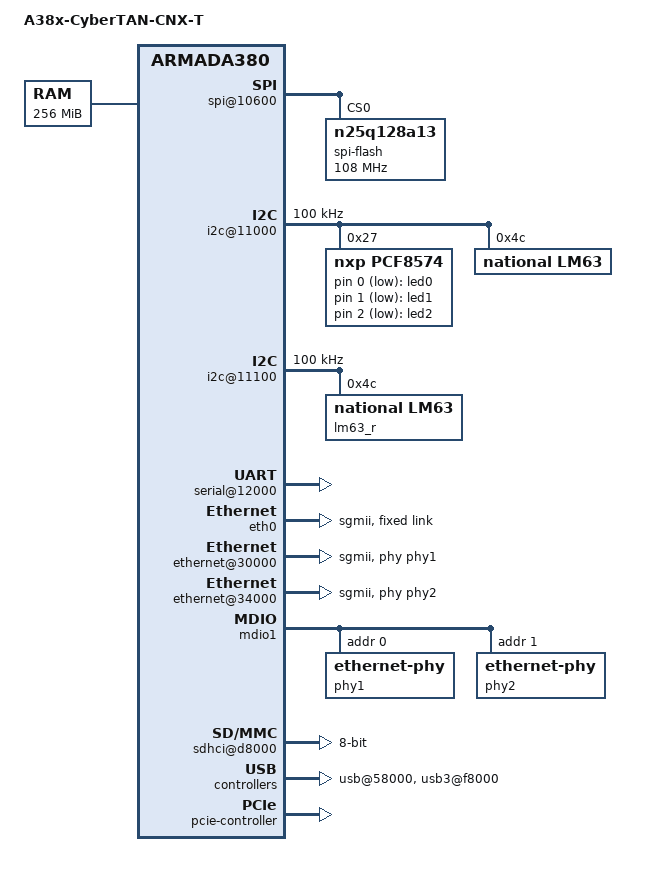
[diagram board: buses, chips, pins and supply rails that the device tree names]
/*
 * Device Tree file for Marvell Armada 388 evaluation board
 * (DB-88F6820)
 *
 *  Copyright (C) 2014 Marvell
 *
 * Thomas Petazzoni <thomas.petazzoni@free-electrons.com>
 *
 * This file is dual-licensed: you can use it either under the terms
 * of the GPL or the X11 license, at your option. Note that this dual
 * licensing only applies to this file, and not this project as a
 * whole.
 *
 *  a) This file is free software; you can redistribute it and/or
 *     modify it under the terms of the GNU General Public License as
 *     published by the Free Software Foundation; either version 2 of the
 *     License, or (at your option) any later version.
 *
 *     This file is distributed in the hope that it will be useful
 *     but WITHOUT ANY WARRANTY; without even the implied warranty of
 *     MERCHANTABILITY or FITNESS FOR A PARTICULAR PURPOSE.  See the
 *     GNU General Public License for more details.
 *
 * Or, alternatively
 *
 *  b) Permission is hereby granted, free of charge, to any person
 *     obtaining a copy of this software and associated documentation
 *     files (the "Software"), to deal in the Software without
 *     restriction, including without limitation the rights to use
 *     copy, modify, merge, publish, distribute, sublicense, and/or
 *     sell copies of the Software, and to permit persons to whom the
 *     Software is furnished to do so, subject to the following
 *     conditions:
 *
 *     The above copyright notice and this permission notice shall be
 *     included in all copies or substantial portions of the Software.
 *
 *     THE SOFTWARE IS PROVIDED , WITHOUT WARRANTY OF ANY KIND
 *     EXPRESS OR IMPLIED, INCLUDING BUT NOT LIMITED TO THE WARRANTIES
 *     OF MERCHANTABILITY, FITNESS FOR A PARTICULAR PURPOSE AND
 *     NONINFRINGEMENT. IN NO EVENT SHALL THE AUTHORS OR COPYRIGHT
 *     HOLDERS BE LIABLE FOR ANY CLAIM, DAMAGES OR OTHER LIABILITY
 *     WHETHER IN AN ACTION OF CONTRACT, TORT OR OTHERWISE, ARISING
 *     FROM, OUT OF OR IN CONNECTION WITH THE SOFTWARE OR THE USE OR
 *     OTHER DEALINGS IN THE SOFTWARE.
 */

/dts-v1/;
#include "armada-388.dtsi"
#include <dt-bindings/gpio/gpio.h>
#include <dt-bindings/input/input.h>

/ {
	model = "A38x-CyberTAN-CNX-T";
	compatible = "marvell,a385-db", "marvell,armada388",
		"marvell,armada385", "marvell,armada380";
	
	aliases {
		/* So that mvebu u-boot can update the MAC addresses */
		ethernet1 = &eth0;
		ethernet2 = &eth1;
		ethernet3 = &eth2;
		/*ethernet4 = &eth3;
		ethernet5 = &eth4;
		mdio-gpio0 = &mdio0; */
	};
	
	chosen {
		stdout-path = "serial0:115200n8";
	};

	memory {
		device_type = "memory";
		reg = <0x00000000 0x10000000>; /* 256 MB */
	};

	soc {
		ranges = <MBUS_ID(0xf0, 0x01) 0 0xf1000000 0x100000
			  MBUS_ID(0x01, 0x1d) 0 0xfff00000 0x100000
			  MBUS_ID(0x09, 0x19) 0 0xf1100000 0x10000
			  MBUS_ID(0x09, 0x15) 0 0xf1110000 0x10000
			  MBUS_ID(0x0c, 0x04) 0 0xf1200000 0x100000>;

		internal-regs {
			
			/* Micron-SPI_Flash */
			spi@10600 {
				status = "okay";

				spi-flash@0 {
					#address-cells = <1>;
					#size-cells = <1>;
					compatible = "n25q128a13", "jedec,spi-nor";
					reg = <0>; /* Chip select 0 */
					spi-max-frequency = <108000000>;
					spi-cpha;
				};
			};

			i2c@11000 {
				status = "okay";
				clock-frequency = <100000>;

				pcf8574: gpio@27 {
					compatible = "nxp,pcf8574";
					reg = <0x27>;
					/*interrupt-parent = <&irqpin2>; 
					interrupts = <3 0>;
					interrupt-controller;
					#interrupt-cells = <2>; */
					gpio-controller;
					#gpio-cells = <2>;
				};
				
				lm63: lm63@4c {
					compatible = "national,lm63";
					reg = <0x4c>;
				};
			};

			i2c@11100 {
				status = "okay";
				clock-frequency = <100000>;

				lm63_r: lm63_r@4c {
					compatible = "national,lm63";
					reg = <0x4c>;
				};
			};

			serial@12000 {
				status = "okay";
			};
/*	
			switch{
				compatible = "marvell,mv_switch";
				status = "okay";
				mii-bus = <&mdio1>;
				phy_addr = <0x7>;
				dev_num = <0x0>;
				cpu_port = <0x9>;
				multiaddr_mode = <0x1>;
				rmu_mode = <0x0>;
				switch_irq = <0xffffffff>;
				port_mask = <0x1FE>;
				connected_port_mask = <0x1FE>;
				forced_link_port_mask = <0x200>;
			};
*/	
			switch{
				compatible = "marvell,mvmdio-uio";
				status = "okay";
				mii-bus = <&mdio1>;
			};

			/* Eth0: 88E6390 */
			eth0: ethernet@70000 {
				status = "okay";
				phy-mode = "sgmii";
				buffer-manager = <&bm>;
				bm,pool-long = <0>;
				bm,pool-short = <1>;
				
				fixed-link {
					speed = <1000>;
					full-duplex;
				};
			};

			/* Eth1: 88E1512 */
			ethernet@30000 {
				status = "okay";
				phy = <&phy1>;
				phy-mode = "sgmii";
				buffer-manager = <&bm>;
				bm,pool-long = <2>;
				bm,pool-short = <3>;
			};
			
			/* Eth2: 88E1512 */
			ethernet@34000 {
				status = "okay";
				phy = <&phy2>;
				phy-mode = "sgmii";
				buffer-manager = <&bm>;
				bm,pool-long = <0>;
				bm,pool-short = <1>;
			};

/*
			eth3: ethernet@3 {
				compatible = "cybertan,rtl8211_eth";
				status = "okay";
				phy = <&phy3>;
				phy-mode = "rgmii";
			};

			eth4: ethernet@4 {
				compatible = "cybertan,rtl8211_eth";
				status = "okay";
				phy = <&phy4>;
				phy-mode = "rgmii";
			};
*/			
			mdio@72004 {
				#address-cells = <1>;
				#size-cells = <0>;
				phy1: ethernet-phy@1 {
					reg = <0>;
				};
				
				phy2: ethernet-phy@2 {
					reg = <1>;
				};
			};
	
			mdio1: mdio@72004 {
				#address-cells = <1>;
				#size-cells = <0>;
			};

/*	
			mdio1: mdio@72004 {
				switch0: switch0@0x7 {
					compatible = "marvell,mv88e6xxx";
					status = "okay";
					reg = <0x7>;
					//dsa,member = <0 0>;
					ports {
						#address-cells = <1>;
						#size-cells = <0>;
						port@1 {
							reg = <1>;
							label = "lan1";
							phy-handle = <&switch0phy1>;
						};
						port@2 {
							reg = <2>;
							label = "lan2";
							phy-handle = <&switch0phy2>;
						};
						
						port@3 {
							reg = <3>;
							label = "lan3";
							phy-handle = <&switch0phy3>;
						};
						
						port@4 {
							reg = <4>;
							label = "lan4";
							phy-handle = <&switch0phy4>;
						};
						
						port@5 {
							reg = <5>;
							label = "lan5";
							phy-handle = <&switch0phy5>;
						};
						
						port@6 {
							reg = <6>;
							label = "lan6";
							phy-handle = <&switch0phy6>;
						};
						
						port@7 {
							reg = <7>;
							label = "lan7";
							phy-handle = <&switch0phy7>;
						};
						
						port@8 {
							reg = <8>;
							label = "lan8";
							phy-handle = <&switch0phy8>;
						};
						
						port@9 {
							reg = <9>;
							label = "cpu";
							ethernet = <&eth0>;
						};
					};

					mdio {
						#address-cells = <1>;
						#size-cells = <0>;
						switch0phy1: switch0phy1@1 {
							reg = <0x1>;
						};
						switch0phy2: switch0phy2@2 {
							reg = <0x2>;
						};
						switch0phy3: switch0phy3@3 {
							reg = <0x3>;
						};
						switch0phy4: switch0phy4@4 {
							reg = <0x4>;
						};
						switch0phy5: switch0phy5@5 {
							reg = <0x5>;
						};
						switch0phy6: switch0phy6@6 {
							reg = <0x6>;
						};
						switch0phy7: switch0phy7@7 {
							reg = <0x7>;
						};
						switch0phy8: switch0phy8@8 {
							reg = <0x8>;
						};
					};
				};
			};
*/
			bm@c8000 {
				status = "okay";
			};
			
			/* eMMC */
			sdhci@d8000 {
				broken-cd;
				wp-inverted;
				bus-width = <8>;
				status = "okay";
				no-1-8-v;
			};

			/* USB2: TypeA */
			usb@58000 {
				status = "okay";
			};
			
			/* USB3: TypeA */
			usb3@f8000 {
				status = "okay";
			};

			crypto@90000 {
				status = "okay";
			};

		};

		bm-bppi {
			status = "okay";
		};

		pcie-controller {
			status = "okay";
			/*
			 * The two PCIe units are accessible through
			 * standard PCIe slots on the board.
			 */
			pcie@1,0 {
				/* Port 0, Lane 0 */
				status = "okay";
			};
			pcie@2,0 {
				/* Port 1, Lane 0 */
				status = "okay";
			};
		};
	};
	leds {
		compatible = "gpio-leds";
		status = "okay";

		led0 {
			gpios = <&pcf8574 0 GPIO_ACTIVE_LOW>;
			label = "led0";
			linux,default-trigger = "timer";
		};
		led1 {
			gpios = <&pcf8574 1 GPIO_ACTIVE_LOW>;
			label = "led1";
			linux,default-trigger = "none";
		};
		led2 {
			gpios = <&pcf8574 2 GPIO_ACTIVE_LOW>;
			label = "led2";
			linux,default-trigger = "none";
		};
	};

	/*
	mdio0: mdio_gpio {
		compatible = "virtual,mdio-gpio";
		gpios = <&gpio1 5 GPIO_ACTIVE_HIGH>,
			<&gpio1 6 GPIO_ACTIVE_HIGH>;
		#address-cells = <1>;
		#size-cells = <0>;

		phy3: ethernet-phy@3 {
			compatible = "ethernet-phy-ieee802.3-c22";
			reg = <5>;
		};
		
		phy4: ethernet-phy@4 {
			compatible = "ethernet-phy-ieee802.3-c22";
			reg = <6>;
		};
	};
	*/

	/*gpio-keys {
		compatible = "gpio-keys";
		pinctrl-0 = <&reset_button_pin>;
		pinctrl-names = "default";

		reset-button {
			label = "Reset Button";
			linux,code = <KEY_RESTART>;
			gpios = <&gpio1 24 GPIO_ACTIVE_LOW>;
		};
	};*/
};
